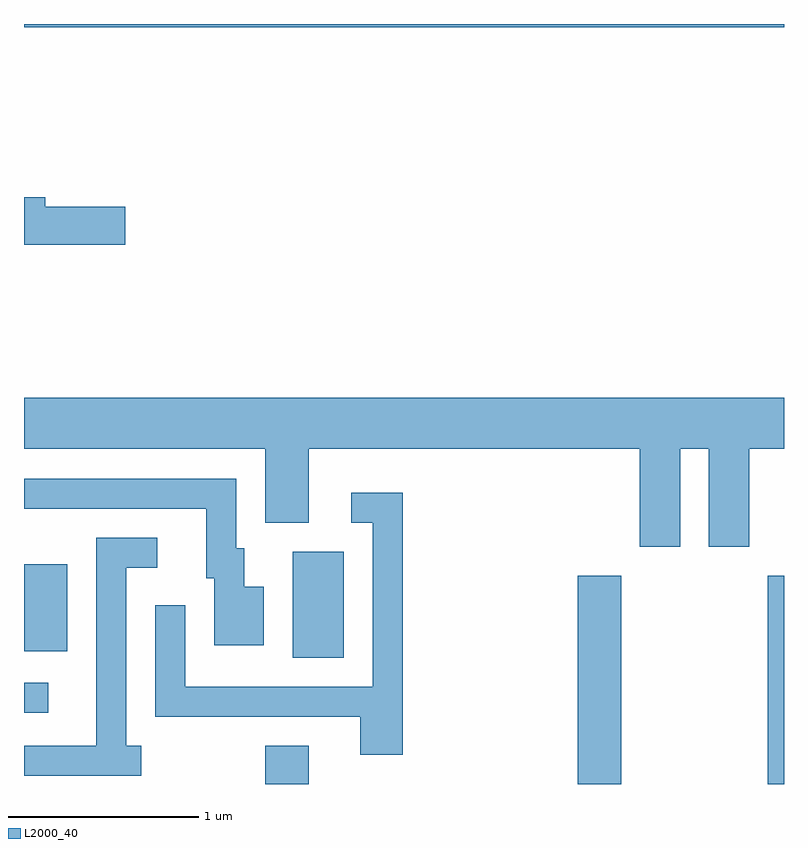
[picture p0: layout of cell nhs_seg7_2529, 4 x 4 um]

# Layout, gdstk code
import gdstk
lib = gdstk.Library(unit=1e-6, precision=1e-09)
def R(c, l, rs):  # rectangles x0, y0, x1, y1
    for r in rs: c.add(gdstk.rectangle(r[:2], r[2:], *l))
def P(c, l, *ps):  # polygons
    for p in ps: c.add(gdstk.Polygon(p, *l))
L2000_40 = (2000, 40)

nhs_seg7_2529 = lib.new_cell('nhs_seg7_2529')
R(nhs_seg7_2529, L2000_40, [(262.881,1790.252,263.109,1790.454), (264.526,1790.252,264.754,1791.349), (265.526,1790.252,265.611,1791.349), (261.611,1790.626,261.738,1790.784), (263.026,1790.916,263.294,1791.474), (261.611,1790.951,261.839,1791.409), (261.611,1794.236,265.611,1794.252)])
P(nhs_seg7_2529, L2000_40, [(262.144,1793.289),(261.724,1793.289),(261.724,1793.339),(261.611,1793.339),(261.611,1793.091),(262.144,1793.091)],
  [(261.611,1792.016),(262.881,1792.016),(262.881,1791.626),(263.109,1791.626),(263.109,1792.016),(264.851,1792.016),(264.851,1791.501),(265.064,1791.501),(265.064,1792.016),(265.216,1792.016),(265.216,1791.501),(265.429,1791.501),(265.429,1792.016),(265.611,1792.016),(265.611,1792.284),(261.611,1792.284)],
  [(262.874,1791.289),(262.769,1791.289),(262.769,1791.494),(262.729,1791.494),(262.729,1791.859),(261.611,1791.859),(261.611,1791.701),(262.571,1791.701),(262.571,1791.336),(262.611,1791.336),(262.611,1790.981),(262.874,1790.981)],
  [(263.604,1791.784),(263.333,1791.784),(263.333,1791.626),(263.446,1791.626),(263.446,1790.764),(262.459,1790.764),(262.459,1791.193),(262.301,1791.193),(262.301,1790.606),(263.381,1790.606),(263.381,1790.406),(263.604,1790.406)],
  [(262.228,1790.454),(262.149,1790.454),(262.149,1791.391),(262.313,1791.391),(262.313,1791.549),(261.991,1791.549),(261.991,1790.454),(261.611,1790.454),(261.611,1790.296),(262.228,1790.296)])

lib.write_gds('nhs_seg7_2529.gds')
